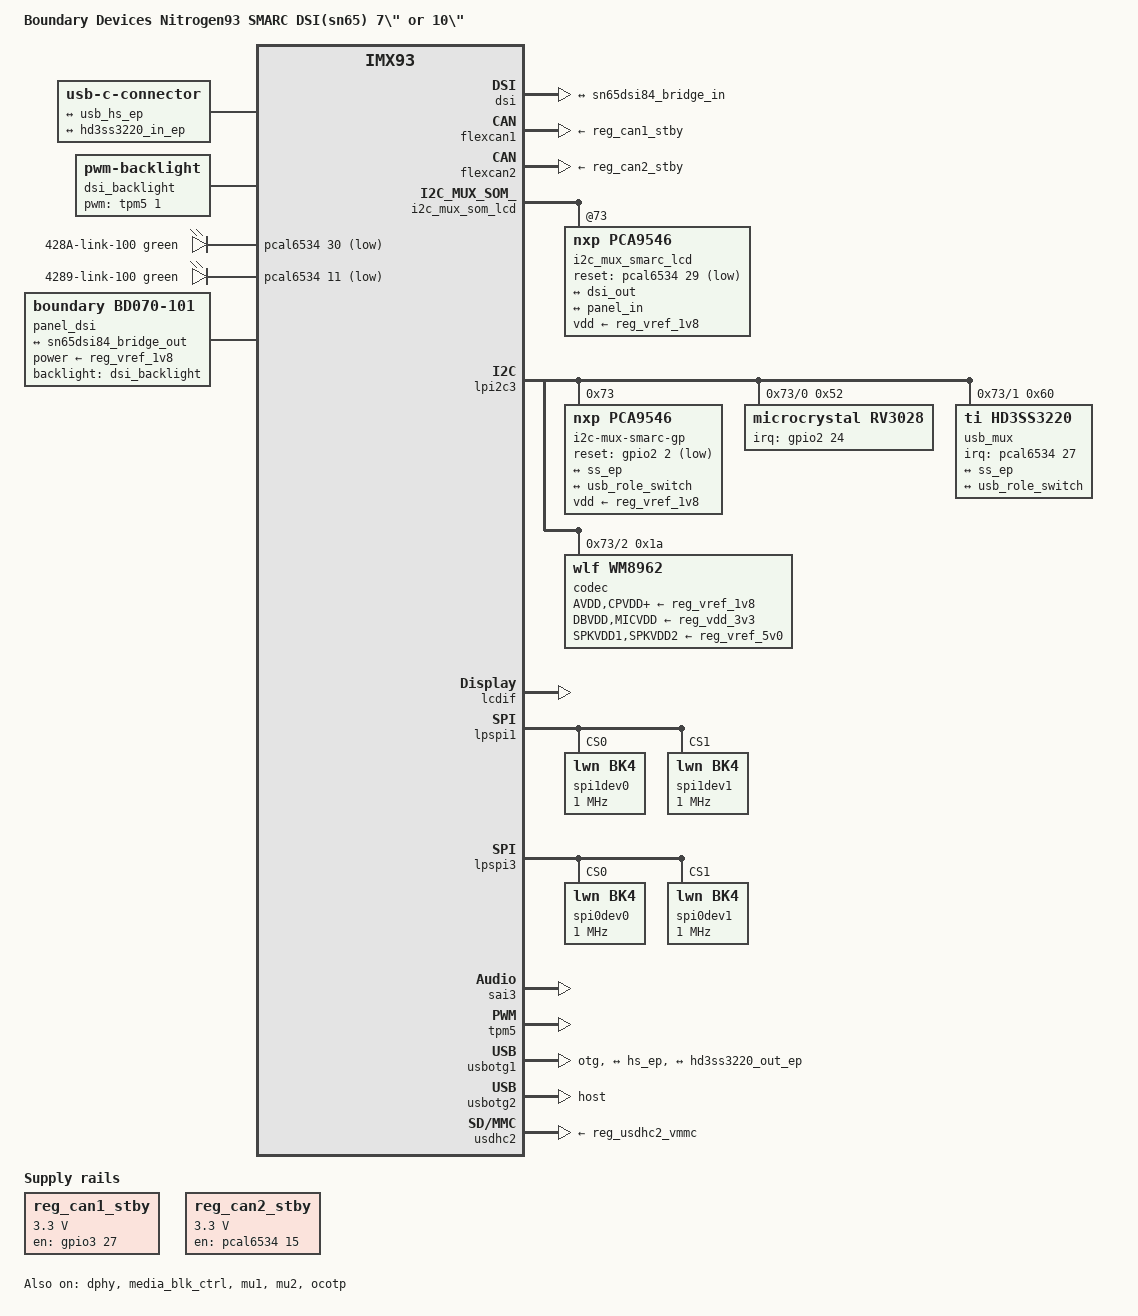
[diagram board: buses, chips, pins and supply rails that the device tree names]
// SPDX-License-Identifier: (GPL-2.0-or-later OR MIT)
/*
 * Copyright 2024 Boundary Devices
 *
 */

/dts-v1/;

#include "imx93-nitrogen-smarc.dtsi"

/ {
	model = "Boundary Devices Nitrogen93 SMARC DSI(sn65) 7\" or 10\"";
	compatible = "fsl,imx93-nitrogen-smarc", "fsl,imx93";

	aliases {
		rtc0 = &rv3028;
		rtc1 = &bbnsm_rtc;
	};

	connector {
		compatible = "usb-c-connector";
		label = "USB-C";
		data-role = "dual";

		ports {
			#address-cells = <1>;
			#size-cells = <0>;

			port@0 {
				reg = <0>;
				hs_ep: endpoint {
					remote-endpoint = <&usb_hs_ep>;
				};
			};

			port@1 {
				reg = <1>;
				ss_ep: endpoint {
					remote-endpoint = <&hd3ss3220_in_ep>;
				};
			};
		};
	};

	dsi_backlight: dsi-backlight {
		brightness-levels = <0 1 2 3 4 5 6 7 8 9 10>;
		compatible = "pwm-backlight";
		default-brightness-level = <8>;
		display = <&lcdif>;
		pinctrl-names = "default";
		pinctrl-0 = <&pinctrl_backlight_dsi>;
		pwms = <&tpm5 1 30000 0>; /* 42 = 24MHz  30000 = 3.3 Khz */
		status = "okay";
	};

	led-controller {
		compatible = "gpio-leds";

		led-0 {
			label = "428A-link-100";
			function = LED_FUNCTION_STATUS;
			color = <LED_COLOR_ID_GREEN>;
			gpios = <&pcal6534 30 GPIO_ACTIVE_LOW>;
			default-state = "off";
			linux,default-trigger = "stmmac-1:07:100Mbps";
		};

		led-1 {
			label = "4289-link-100";
			function = LED_FUNCTION_STATUS;
			color = <LED_COLOR_ID_GREEN>;
			gpios = <&pcal6534 11 GPIO_ACTIVE_LOW>;
			default-state = "off";
			linux,default-trigger = "42890000.ethernet-1:07:100Mbps";
		};

	};

	panel_dsi: panel-dsi {
		/* If you know you are only using the BD070LIC3 then use ...
		 * compatible = "tianma,tm070jdhg30";
		 *
		 * And for the BD101LCC3 use ...
		 * compatible = "infovision,ivo-m101nwwb";
		*/
		compatible = "boundary,bd070-101"; /* For BD070LIC3 and BD101LCC3 */
		power-supply = <&reg_vref_1v8>;
		backlight = <&dsi_backlight>;

		port {
			panel_in: endpoint {
				remote-endpoint = <&sn65dsi84_bridge_out>;
			};
		};
	};

	reg_can1_stby: regulator-can0-stby {
		compatible = "regulator-fixed";
		pinctrl-names = "default";
		pinctrl-0 = <&pinctrl_reg_can1_stby>;
		regulator-name = "can1-stby";
		regulator-min-microvolt = <3300000>;
		regulator-max-microvolt = <3300000>;
		gpio = <&gpio3 27 GPIO_ACTIVE_HIGH>; /* CCM_CLK02 -> GPIO1 */
		enable-active-high;
	};

	reg_can2_stby: regulator-can1-stby {
		compatible = "regulator-fixed";
		regulator-name = "can2-stby";
		regulator-min-microvolt = <3300000>;
		regulator-max-microvolt = <3300000>;
		gpio = <&pcal6534 15 GPIO_ACTIVE_HIGH>; /* P1_7 -> GPIO4 */
		enable-active-high;
	};

	sound-wm8962 {
		compatible = "fsl,imx-audio-wm8962";
		model = "wm8962-audio";
		audio-cpu = <&sai3>;
		audio-codec = <&codec>;
		audio-routing =
			"Headphone Jack", "HPOUTL",
			"Headphone Jack", "HPOUTR",
			"Ext Spk", "SPKOUTL",
			"Ext Spk", "SPKOUTR",
			"AMIC", "MICBIAS",
			"IN3R", "AMIC",
			"IN1R", "AMIC";
		codec-master;
	};
};

&dphy {
	status = "okay";
};

&dsi {
	status = "okay";

	ports {
		port@1 {
			reg = <1>;
			dsi_out: endpoint {
				remote-endpoint = <&sn65dsi84_bridge_in>;
			};
		};
	};
};

&flexcan1 {
	status = "okay";
	xceiver-supply = <&reg_can1_stby>;
};

&flexcan2 {
	status = "okay";
	xceiver-supply = <&reg_can2_stby>;
};

&i2c_mux_som_lcd { /* LCD I2C */
	i2c_mux_smarc_lcd@73 { /* On SMARC carrier */
		pinctrl-names = "default";
		compatible = "nxp,pca9546";
		reg = <0x73>;
		vdd-supply = <&reg_vref_1v8>;
		reset-gpios = <&pcal6534 29 GPIO_ACTIVE_LOW>; /* P3_5 / GPIO_13 */
		#address-cells = <1>;
		#size-cells = <0>;

		i2c_mux_lcd_exp1: i2cmuxsmarclcd@exp1 {
			/* EXP1 I2C */
			clock-frequency = <100000>;
			reg = <0>;
			#address-cells = <1>;
			#size-cells = <0>;
		};

		i2c_mux_lcd_exp2: i2cmuxsmarclcd@exp2 {
			/* EXP2 I2C */
			clock-frequency = <100000>;
			reg = <1>;
			#address-cells = <1>;
			#size-cells = <0>;
		};

		i2c_mux_lcd_dsi0: i2cmuxsmarclcd@dsi0 {
			/* DSI0 I2C */
			clock-frequency = <100000>;
			reg = <2>;
			#address-cells = <1>;
			#size-cells = <0>;
		};

		i2c_mux_lcd_dsi1: i2cmuxsmarclcd@dsi1 {
			/* DSI1 I2C */
			clock-frequency = <100000>;
			reg = <3>;
			#address-cells = <1>;
			#size-cells = <0>;
		};
	};
};

&i2c_mux_lcd_dsi0 {
	/* 0x5d or 0x14 */
	ts_goodix_dsi: touchscreen_dsi@14 {
		compatible = "goodix,gt9271";
		AVDD28-supply = <&reg_vref_1v8>; /* Real supply is on the display */
		VDDIO-supply = <&reg_vref_1v8>;
		esd-recovery-timeout-ms = <2000>;
		interrupts-extended = <&pcal6534 16 IRQ_TYPE_EDGE_RISING>;
		irq-gpios = <&pcal6534 16 GPIO_ACTIVE_HIGH>; /* P2_0 LCD0_BCKL_EN */
		pinctrl-names = "default";
		pinctrl-0 = <&pinctrl_ts_dsi_gt911>;
		reg = <0x14>;
		reset-gpios = <&gpio2 3 GPIO_ACTIVE_HIGH>;
		status = "okay";
	};

	ts_lvds_ft5x06: touchscreen@38 {
		compatible = "edt,ft5x06-ts";
		interrupts-extended = <&pcal6534 16 IRQ_TYPE_EDGE_FALLING>;
		pinctrl-names = "default";
		pinctrl-0 = <&pinctrl_ts_dsi_gt911>;
		reg = <0x38>;
		reset-gpios = <&gpio2 3 GPIO_ACTIVE_LOW>;
		wakeup-gpios = <&pcal6534 16 GPIO_ACTIVE_LOW>;
		status = "disabled";
	};

	dsi0_sn65dsi84: dsi0@2c {
		compatible = "ti,sn65dsi84";
		enable-gpios = <&pcal6534 17 GPIO_ACTIVE_HIGH>; /* P2_1 LCD0_VDD_EN */
		/* This driver does NOT use the interrupt pin */
		reg = <0x2c>;
		vcc-supply = <&reg_vref_1v8>;
		status = "okay";

		ports {
		#address-cells = <1>;
		#size-cells = <0>;

			port@0 {
				reg = <0>;

				sn65dsi84_bridge_in: endpoint {
					remote-endpoint = <&dsi_out>;
					data-lanes = <1 2 3 4>;
				};
			};

			port@2 {
				reg = <2>;

				sn65dsi84_bridge_out: endpoint {
					remote-endpoint = <&panel_in>;
				};
			};

		};
	};
};

&lpi2c3 { /* SM_I2C_GP */
	status = "okay";

	i2c-mux-smarc-gp@73 {
		compatible = "nxp,pca9546";
		reg = <0x73>;
		vdd-supply = <&reg_vref_1v8>;
		reset-gpios = <&gpio2 2 GPIO_ACTIVE_LOW>; /* SMARC GPIO6*/
		#address-cells = <1>;
		#size-cells = <0>;

		i2c_mux_smarc_gp_rtc: i2cmuxsmarcgp@rtc {
			/* RTC */
			clock-frequency = <100000>;
			reg = <0>;
			#address-cells = <1>;
			#size-cells = <0>;
		};

		 i2c_mux_smarc_gp_usbc: i2cmuxsmarcgp@usb-c{
			/* USB C */
			clock-frequency = <100000>;
			reg = <1>;
			#address-cells = <1>;
			#size-cells = <0>;
		};

		 i2c_mux_smarc_gp_aud: i2cmuxsmarcgp@audio{
			/* audio */
			clock-frequency = <100000>;
			reg = <2>;
			#address-cells = <1>;
			#size-cells = <0>;
		};

		 i2c_mux_smarc_gp_pcie: i2cmuxsmarcgp@pcie{
			/* pcie */
			clock-frequency = <100000>;
			reg = <3>;
			#address-cells = <1>;
			#size-cells = <0>;
		};
	};
};

&i2c_mux_smarc_gp_aud {
	codec: wm8962@1a {
		compatible = "wlf,wm8962";
		reg = <0x1a>;
		clocks = <&clk IMX93_CLK_SAI3_GATE>;
		AVDD-supply = <&reg_vref_1v8>;
		CPVDD-supply = <&reg_vref_1v8>;
		DBVDD-supply = <&reg_vdd_3v3>;
		DCVDD-supply = <&reg_vref_1v8>;
		MICVDD-supply = <&reg_vdd_3v3>;
		PLLVDD-supply = <&reg_vref_1v8>;
		SPKVDD1-supply = <&reg_vref_5v0>;
		SPKVDD2-supply = <&reg_vref_5v0>;
		gpio-cfg = <
			0x0000 /* n/c */
			0x0000 /* gpio2: */
			0x0000 /* gpio3: */
			0x0000 /* n/c */
			0x8081 /* gpio5:HP detect */
			0x8095 /* gpio6:Mic detect */
		>;
		gpio-line-names = "N/C", "GPIO2",
			"GPIO3", "N/C",
			"GPIO5:HP detect",
			"GPIO6:Mic detect";
	};
};

&i2c_mux_smarc_gp_rtc {
	rv3028: rtc@52 {
		backup-switchover-dsm;
		#clock-cells = <0>;
		pinctrl-names = "default";
		pinctrl-0 = <&pinctrl_rv3028>;
		compatible = "microcrystal,rv3028";
		reg = <0x52>;
		interrupt-parent = <&gpio2>; /* SMARC GPIO12 */
		interrupts = <24 IRQ_TYPE_LEVEL_LOW>;
		wakeup-source;
	};
};

&i2c_mux_smarc_gp_usbc {
	usb_mux: hd3ss3220@60 {
		compatible = "ti,hd3ss3220";
		interrupts-extended = <&pcal6534 27 IRQ_TYPE_EDGE_FALLING>; /* P3_3 GPIO_11 */
		reg = <0x60>;

		ports {
		#address-cells = <1>;
		#size-cells = <0>;

			port@0 {
				reg = <0>;
				hd3ss3220_in_ep: endpoint {
					remote-endpoint = <&ss_ep>;
				};
			};

			port@1 {
				reg = <1>;
				hd3ss3220_out_ep: endpoint {
					remote-endpoint = <&usb_role_switch>;
				};
			};
		};
	};
};

&lcdif {
	assigned-clock-rates = <484000000>, <121000000>, <400000000>, <133333333>;
	status = "okay";
};

&lpspi1 {
	status = "okay";

	spi1dev0: spi1@0 {
		reg = <0>;
		compatible = "lwn,bk4";
		spi-max-frequency = <1000000>;
	};

	spi1dev1: spi1@1 {
		reg = <1>;
		compatible = "lwn,bk4";
		spi-max-frequency = <1000000>;
	};
};

&lpspi3 {
	status = "okay";

	spi0dev0: spi0@0 {
		reg = <0>;
		compatible = "lwn,bk4";
		spi-max-frequency = <1000000>;
	};

	spi0dev1: spi0@1 {
		reg = <1>;
		compatible = "lwn,bk4";
		spi-max-frequency = <1000000>;
	};
};

&media_blk_ctrl {
	status = "okay";
};

&mu1 {
	status = "okay";
};

&mu2 {
	status = "okay";
};

&ocotp {
	status = "okay";
};

&sai3 { /* I2S0 */
	pinctrl-names = "default";
	pinctrl-0 = <&pinctrl_sai3>;
	assigned-clocks = <&clk IMX93_CLK_SAI3>;
	assigned-clock-parents = <&clk IMX93_CLK_AUDIO_PLL>;
	/* wm8962 needs MCLK 14 - 40 MHz */
	assigned-clock-rates = <24000000>;
	fsl,sai-mclk-direction-output;
	status = "okay";
};

&tpm5 { /* DSI / DISP_PWM0 Backlight */
	status = "okay";
};

&usbotg1 { /* USB-C */
	dr_mode = "otg";
	hnp-disable;
	srp-disable;
	adp-disable;
	usb-role-switch;
	disable-over-current;
	status = "okay";

	ports {
		#address-cells = <1>;
		#size-cells = <0>;

		port@0 {
			reg = <0>;
			usb_hs_ep: endpoint {
				remote-endpoint = <&hs_ep>;
			};
		};

		port@1 {
			reg = <1>;
			usb_role_switch: endpoint {
				remote-endpoint = <&hd3ss3220_out_ep>;
			};
		};
	};
};

&usbotg2 { /* J2 */
	dr_mode = "host";
	disable-over-current;
	samsung,picophy-pre-emp-curr-control = <3>;
	samsung,picophy-dc-vol-level-adjust = <7>;
	status = "okay";
};

&usdhc2 { /* SDIO - SDCARD */
	vmmc-supply = <&reg_usdhc2_vmmc>;
	status = "okay";
	no-sdio;
	no-mmc;
};

&iomuxc {
	pinctrl-names = "default";
	pinctrl-0 = <&pinctrl_hog>;

	pinctrl_hog: hoggrp {
		fsl,pins = <
			MX93_PAD_CCM_CLKO1__GPIO3_IO26                          0x31e
			MX93_PAD_GPIO_IO06__GPIO2_IO06				0x31e
		>;
	};

	pinctrl_backlight_dsi: backlight-dsi {
		fsl,pins = <
			MX93_PAD_GPIO_IO22__TPM5_CH1				0x02
		>;
	};

	pinctrl_reg_can1_stby: regcan1stbygrp {
		fsl,pins = <
			MX93_PAD_CCM_CLKO2__GPIO3_IO27				0x31e
		>;
	};

	pinctrl_rv3028: rv3028grp {
		fsl,pins = <
			MX93_PAD_GPIO_IO24__GPIO2_IO24				0x31e
		>;
	};

	pinctrl_ts_dsi_gt911: tsdsigt911grp {
		fsl,pins = <
			MX93_PAD_GPIO_IO03__GPIO2_IO03				0x31e
		>;
	};
};
